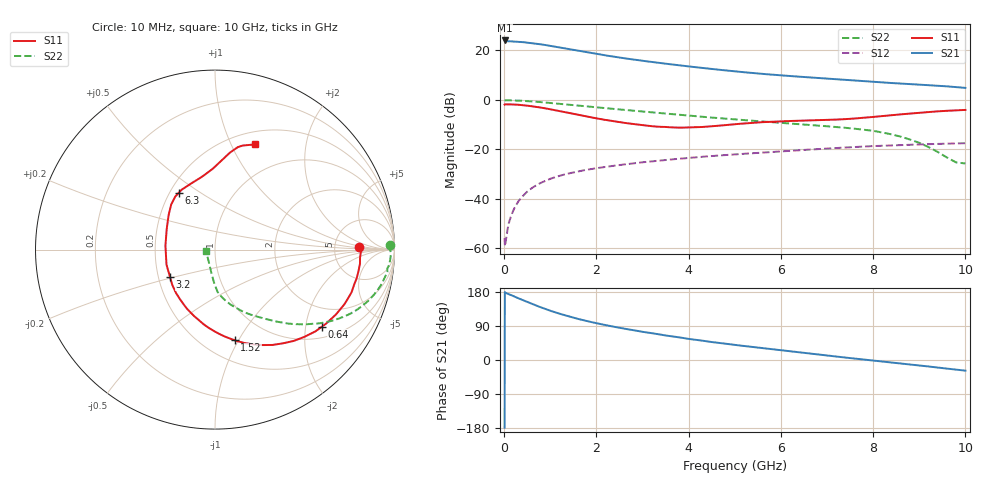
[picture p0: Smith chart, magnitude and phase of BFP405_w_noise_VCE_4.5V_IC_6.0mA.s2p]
! Infineon Technologies  Discrete & RF Semiconductors
! BFP405
! VCE =  4.5 V,  IC =  6.0 mA
! Common Emitter S-Parameters:  Jan 2016
# GHz  S  MA  R  50
!  f  S11  S21  S12  S22
! GHz  MAG  ANG  MAG  ANG  MAG  ANG  MAG  ANG
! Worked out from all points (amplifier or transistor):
!   233 points, 10 MHz to 10 GHz, reference 50 ohm
!   highest |S21| = 24.0 dB at 10 MHz (marker M1)
!   |S21| within 3 dB of that: start of sweep to 1.255 GHz
!   unconditionally stable (mu >= 1): start of sweep to 31.52 MHz; 3.204 GHz to end of sweep
!   at 200 MHz: K = 0.30, MSG = 34.2 dB, |S12| = -44.7 dB
!   at 1.74 GHz: K = 0.62, MSG = 23.9 dB, |S12| = -28.5 dB
!   at 10 GHz: K = 1.42, MAG = 7.4 dB, |S12| = -17.5 dB
!   lowest NFmin = 1.32 dB at 900 MHz
!   S11 on the Smith chart (normalised r, x): 10 MHz: 9.05, +0.71; 640 MHz: 1.32, -2.46; 1.52 GHz: 0.70, -0.97; 3.2 GHz: 0.58, -0.19; 6.3 GHz: 0.56, +0.41; 10 GHz: 0.64, +1.23
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0.01  0.8021 1.0  15.88 -178.7  0.0016 -21.5  0.9758 1.5
0.02  0.8137 -0.5  15.59 177.4  0.0011 32.7  0.9737 0.2
0.1  0.8116 -5.6  15.33 173.6  0.0032 66.9  0.9797 -2.3
0.24  0.8002 -13.7  15.1 166.5  0.0069 74.7  0.9669 -6.0
0.4  0.7822 -23.0  14.72 158.1  0.0112 73.8  0.9564 -9.8
0.64  0.7338 -35.9  13.85 146.3  0.0174 70.2  0.9247 -15.2
0.8  0.6961 -44.3  13.23 138.7  0.0211 67.5  0.8995 -18.6
1  0.6453 -54.0  12.36 130.0  0.0253 64.3  0.8652 -22.3
1.2  0.5944 -63.5  11.48 122.2  0.0291 61.4  0.8299 -25.7
1.52  0.5175 -77.7  10.16 111.1  0.0344 57.5  0.7758 -30.3
1.68  0.4832 -84.5  9.564 106.1  0.0369 55.8  0.7503 -32.3
2  0.423 -98.1  8.492 97.1  0.0414 53.0  0.7039 -35.8
2.4  0.3657 -115.0  7.406 87.3  0.0467 50.1  0.6517 -39.7
2.78  0.3268 -130.9  6.577 79.0  0.0516 47.5  0.607 -43.1
3.2  0.2933 -148.8  5.835 70.8  0.0571 44.8  0.5605 -46.7
3.4  0.2845 -158.0  5.529 66.9  0.0596 43.5  0.539 -48.5
4  0.277 175.6  4.741 55.7  0.067 39.7  0.48 -53.7
5.1  0.3274 141.3  3.691 38.4  0.08 32.6  0.3957 -63.5
6.3  0.3759 122.2  2.983 21.8  0.0944 25.3  0.3285 -72.5
6.8  0.3868 113.3  2.762 14.8  0.101 21.9  0.3024 -76.4
8.4  0.4895 86.6  2.188 -6.6  0.1199 9.2  0.2003 -89.9
10  0.6257 69.4  1.745 -28.1  0.1329 -2.9  0.0517 -174.2
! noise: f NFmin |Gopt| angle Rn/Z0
0.9  1.32  0.32  10  0.32
1.8  1.58  0.25  16  0.31
2.4  1.71  0.21  23  0.31
3  1.74  0.18  41  0.28
4  1.9  0.07  58  0.25
5  2.27  0.03  180  0.23
